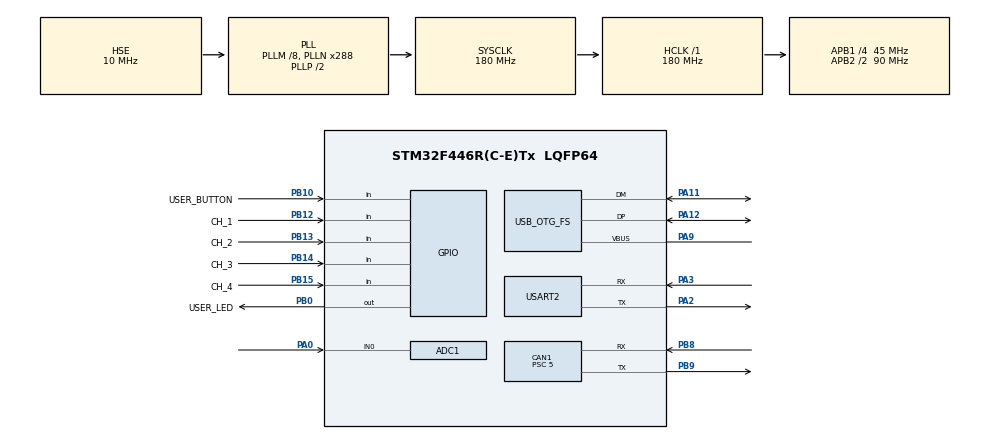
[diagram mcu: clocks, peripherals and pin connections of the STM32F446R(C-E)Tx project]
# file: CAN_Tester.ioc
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ADC1.Channel-0\#ChannelRegularConversion=ADC_CHANNEL_0
ADC1.ContinuousConvMode=DISABLE
ADC1.NbrOfConversionFlag=1
ADC1.Rank-0\#ChannelRegularConversion=1
ADC1.SamplingTime-0\#ChannelRegularConversion=ADC_SAMPLETIME_3CYCLES
ADC1.master=1
CAN1.BS1=CAN_BS1_5TQ
CAN1.BS2=CAN_BS2_3TQ
CAN1.CalculateTimeQuantum=111.11111111111111
CAN1.Prescaler=5
CAN1.SJW=CAN_SJW_1TQ
Mcu.Family=STM32F4
Mcu.Name=STM32F446R(C-E)Tx
Mcu.Package=LQFP64
NVIC.CAN1_RX0_IRQn=true\:0\:0\:false\:false\:true\:true\:true
NVIC.OTG_FS_IRQn=true\:0\:0\:false\:false\:true\:false\:true
NVIC.PriorityGroup=NVIC_PRIORITYGROUP_4
NVIC.TIM1_UP_TIM10_IRQn=true\:0\:0\:false\:false\:true\:true\:true
PA0-WKUP.Signal=ADCx_IN0
PA11.Mode=Device_Only
PA11.Signal=USB_OTG_FS_DM
PA12.Mode=Device_Only
PA12.Signal=USB_OTG_FS_DP
PA13.Mode=Trace_Asynchronous_SW
PA13.Signal=SYS_JTMS-SWDIO
PA14.Mode=Trace_Asynchronous_SW
PA14.Signal=SYS_JTCK-SWCLK
PA2.Mode=Asynchronous
PA2.Signal=USART2_TX
PA3.Mode=Asynchronous
PA3.Signal=USART2_RX
PA9.Mode=Activate_VBUS
PA9.Signal=USB_OTG_FS_VBUS
PB0.GPIO_Label=USER_LED
PB0.Signal=GPIO_Output
PB10.GPIO_Label=USER_BUTTON
PB10.GPIO_PuPd=GPIO_PULLUP
PB10.Signal=GPIO_Input
PB12.GPIO_Label=CH_1
PB12.GPIO_PuPd=GPIO_PULLUP
PB12.Signal=GPIO_Input
PB13.GPIO_Label=CH_2
PB13.GPIO_PuPd=GPIO_PULLUP
PB13.Signal=GPIO_Input
PB14.GPIO_Label=CH_3
PB14.GPIO_PuPd=GPIO_PULLUP
PB14.Signal=GPIO_Input
PB15.GPIO_Label=CH_4
PB15.GPIO_PuPd=GPIO_PULLUP
PB15.Signal=GPIO_Input
PB3.Mode=Trace_Asynchronous_SW
PB3.Signal=SYS_JTDO-SWO
PB8.Mode=Master
PB8.Signal=CAN1_RX
PB9.Mode=Master
PB9.Signal=CAN1_TX
PH0-OSC_IN.Mode=HSE-External-Oscillator
PH0-OSC_IN.Signal=RCC_OSC_IN
PH1-OSC_OUT.Mode=HSE-External-Oscillator
PH1-OSC_OUT.Signal=RCC_OSC_OUT
ProjectManager.HeapSize=0x200
ProjectManager.StackSize=0x400
ProjectManager.TargetToolchain=STM32CubeIDE
RCC.AHBFreq_Value=180000000
RCC.APB1CLKDivider=RCC_HCLK_DIV4
RCC.APB1Freq_Value=45000000
RCC.APB1TimFreq_Value=90000000
RCC.APB2CLKDivider=RCC_HCLK_DIV2
RCC.APB2Freq_Value=90000000
RCC.APB2TimFreq_Value=180000000
RCC.CortexFreq_Value=180000000
RCC.HCLKFreq_Value=180000000
RCC.HSE_VALUE=10000000
RCC.PLLM=8
RCC.PLLN=288
RCC.PLLQ=10
RCC.PLLSAIM=10
RCC.PLLSAIP=RCC_PLLSAIP_DIV4
RCC.SYSCLKFreq_VALUE=180000000
RCC.SYSCLKSource=RCC_SYSCLKSOURCE_PLLCLK
RCC.USBCLockSelection=RCC_CLK48CLKSOURCE_PLLSAIP
RCC.USBFreq_Value=48000000
RCC.VCOOutputFreq_Value=360000000
SH.ADCx_IN0.0=ADC1_IN0,IN0
TIM1.Period=10000
TIM1.Prescaler=18
USART2.VirtualMode=VM_ASYNC
USB_DEVICE.CLASS_NAME_FS=CDC
USB_DEVICE.VirtualMode-CDC_FS=Cdc
USB_DEVICE.VirtualModeFS=Cdc_FS
USB_OTG_FS.VirtualMode=Device_Only
VP_TIM1_VS_ClockSourceINT.Mode=Internal
VP_USB_DEVICE_VS_USB_DEVICE_CDC_FS.Mode=CDC_FS
board=custom

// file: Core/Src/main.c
/* USER CODE BEGIN Header */
/**
  ******************************************************************************
  * @file           : main.c
  * @brief          : Main program body
  ******************************************************************************
  * @attention
  *
  * <h2><center>&copy; Copyright (c) 2020 STMicroelectronics.
  * All rights reserved.</center></h2>
  *
  * This software component is licensed by ST under BSD 3-Clause license,
  * the "License"; You may not use this file except in compliance with the
  * License. You may obtain a copy of the License at:
  *                        opensource.org/licenses/BSD-3-Clause
  *
  ******************************************************************************
  */
/* USER CODE END Header */

#include "main.h"
#include "usb_device.h"

/* USER CODE BEGIN Includes */

#include <stdio.h>
#include <string.h>
#include <stdarg.h>

#include "ntshell.h"
#include "usrcmd.h"

#include "usbd_cdc_if.h"

#include "motorTest.h"

/* USER CODE END Includes */

/* USER CODE BEGIN PD */

#define uart_puts(str) puts(str)

/* USER CODE END PD */

ADC_HandleTypeDef hadc1;

CAN_HandleTypeDef hcan1;

TIM_HandleTypeDef htim1;

UART_HandleTypeDef huart2;

/* USER CODE BEGIN PV */

ntshell_t nts;

MotorTest_TypeDef motorTest;

/********** LED Control **********/

volatile uint32_t LED_blink_count = 0;
volatile uint32_t LED_blink_state = 0;
volatile uint32_t LED_blink_t_us = 0;
volatile uint32_t LED_blink_times = 0;
volatile uint32_t LED_blink_Ton_us = 50000;
volatile uint32_t LED_blink_Toff_us = 200000;
volatile uint32_t LED_blink_T_wait_us = 1000000;
volatile uint32_t LED_blink_Ts_us = 1000;

int16_t Iq_res_int16 = 0;
uint16_t theta_res_uint16 = 0;
int16_t omega_res_int16 = 0;

/* USER CODE END PV */

void SystemClock_Config(void);
static void MX_GPIO_Init(void);
static void MX_ADC1_Init(void);
static void MX_CAN1_Init(void);
static void MX_USART2_UART_Init(void);
static void MX_TIM1_Init(void);
/* USER CODE BEGIN PFP */

int32_t printf_cdc(char *format, ...);

/* USER CODE END PFP */

/* USER CODE BEGIN 0 */

#ifdef __GNUC__
#define PUTCHAR_PROTOTYPE int __io_putchar(int ch)
#else
#define PUTCHAR_PROTOTYPE int fputc(int ch, FILE *f)
#endif /* __GNUC__ */
void __io_putchar(uint8_t ch)
{
	HAL_UART_Transmit(&huart2, &ch, 1, 1);
}

void driveMotor_speed(float Iq_ref[])
{

	uint32_t can1TxMailbox;
	CAN_TxHeaderTypeDef can1TxHeader;
	uint8_t can1TxData[8];

	int16_t Iq_ref_int[4];

	can1TxHeader.StdId = 0x300;
	can1TxHeader.ExtId = 0x00;
	can1TxHeader.IDE = CAN_ID_STD;
	can1TxHeader.RTR = CAN_RTR_DATA;
	can1TxHeader.DLC = 8;

	Iq_ref_int[0] = (int16_t)(Iq_ref[0] * 1024);
	Iq_ref_int[1] = (int16_t)(Iq_ref[1] * 1024);
	Iq_ref_int[2] = (int16_t)(Iq_ref[2] * 1024);
	Iq_ref_int[3] = (int16_t)(Iq_ref[3] * 1024);

	can1TxData[0] = Iq_ref_int[0] & 0xff;
	can1TxData[1] = (Iq_ref_int[0] >> 8) & 0xff;

	can1TxData[2] = Iq_ref_int[1] & 0xff;
	can1TxData[3] = (Iq_ref_int[1] >> 8) & 0xff;

	can1TxData[4] = Iq_ref_int[2] & 0xff;
	can1TxData[5] = (Iq_ref_int[2] >> 8) & 0xff;

	can1TxData[6] = Iq_ref_int[3] & 0xff;
	can1TxData[7] = (Iq_ref_int[3] >> 8) & 0xff;

	//HAL_CAN_ActivateNotification(&hcan1, CAN_IT_TX_MAILBOX_EMPTY);

	HAL_CAN_AddTxMessage(&hcan1, &can1TxHeader, can1TxData, &can1TxMailbox);

	return;
}

void requestMotorParam()
{

	uint32_t can1TxMailbox;
	CAN_TxHeaderTypeDef can1TxHeader;
	uint8_t can1TxData[8];

	can1TxHeader.StdId = 0x310;
	can1TxHeader.ExtId = 0x00;
	can1TxHeader.IDE = CAN_ID_STD;
	can1TxHeader.RTR = CAN_RTR_DATA;
	can1TxHeader.DLC = 0;

	//HAL_CAN_ActivateNotification(&hcan1, CAN_IT_TX_MAILBOX_EMPTY);

	HAL_CAN_AddTxMessage(&hcan1, &can1TxHeader, can1TxData, &can1TxMailbox);

	return;
}

uint8_t getChannel()
{
	uint8_t ch = 0;

	//ch |= !HAL_GPIO_ReadPin(CH_1_GPIO_Port, CH_1_Pin) << 2;
	ch |= !HAL_GPIO_ReadPin(CH_2_GPIO_Port, CH_2_Pin) << 1;
	ch |= !HAL_GPIO_ReadPin(CH_3_GPIO_Port, CH_3_Pin) << 0;
	//ch |= !HAL_GPIO_ReadPin(CH_4_GPIO_Port, CH_4_Pin) << 3;

	return ch;
}

float getVolume()
{
	static float rate = 0.0;

#if 0
	if (HAL_ADC_PollForConversion(&hadc1, 10) != HAL_OK)
	{
		Error_Handler();
	}
	else
	{
		rate = HAL_ADC_GetValue(&hadc1) / 4096.0f;
	}
#else
	rate = HAL_ADC_GetValue(&hadc1) / 4096.0f;
#endif

	if(HAL_ADC_Start_IT(&hadc1) != HAL_OK)
	{
		Error_Handler();
	}

	return rate;

}

int32_t printf_cdc(char *format, ...)
{
	int32_t TransStrLength;
	static char TransStr[1024];

	va_list args;
	va_start(args, format);
	TransStrLength = vsprintf(TransStr, format, args);
	va_end(args);

	CDC_Transmit_FS((uint8_t *)TransStr, TransStrLength);

	return TransStrLength;
}

void LED_blink()
{

	switch(LED_blink_state)
	{
	case 0: // OFF WAIT
		HAL_GPIO_WritePin(USER_LED_GPIO_Port, USER_LED_Pin, GPIO_PIN_RESET);
		if(LED_blink_t_us >= LED_blink_T_wait_us)
		{
			if(LED_blink_times > 0)
			{
				LED_blink_state = 1;
				LED_blink_count = 0;
			}

			LED_blink_t_us = 0;
		}
		break;

	case 1: // ON
		HAL_GPIO_WritePin(USER_LED_GPIO_Port, USER_LED_Pin, GPIO_PIN_SET);
		if(LED_blink_t_us >= LED_blink_Ton_us)
		{
			LED_blink_count += 1;
			LED_blink_state = 2;
			LED_blink_t_us = 0;
		}
		break;

	case 2: // OFF
		HAL_GPIO_WritePin(USER_LED_GPIO_Port, USER_LED_Pin, GPIO_PIN_RESET);
		if(LED_blink_t_us >= LED_blink_Toff_us)
		{
			if(LED_blink_count < LED_blink_times)
				LED_blink_state = 1;
			else
				LED_blink_state = 0;

			LED_blink_t_us = 0;
		}
		break;

	default:

		break;
	}

	LED_blink_t_us += LED_blink_Ts_us;

}

void HAL_TIM_PeriodElapsedCallback (TIM_HandleTypeDef * htim)
{

	if(htim->Instance == TIM1)
	{
		// 1ms
		LED_blink();

		motorTest.volume = getVolume();

		MotorTest_Update(&motorTest);

	}

}

void HAL_CAN_RxFifo0MsgPendingCallback(CAN_HandleTypeDef *hcan)
{

	CAN_RxHeaderTypeDef can1RxHeader;
	uint8_t can1RxData[8];

	HAL_CAN_GetRxMessage(hcan, CAN_RX_FIFO0, &can1RxHeader, can1RxData);

	if(can1RxHeader.StdId == (0x400 + getChannel()) && can1RxHeader.DLC == 8)
	{
		motorTest.status_code = can1RxData[0];
		motorTest.Iq_res_int16 = ((int16_t)can1RxData[2] << 8) | can1RxData[1];
		motorTest.theta_res_uint16 = ((uint16_t)can1RxData[4] << 8) | can1RxData[3];
		motorTest.omega_res_int16 = ((int16_t)can1RxData[6] << 8) | can1RxData[5];
		return;
	}
	if(can1RxHeader.StdId == (0x410 + getChannel()) && can1RxHeader.DLC == 4)
	{
		uint16_t motor_kv = ((int16_t)can1RxData[1] << 8) | can1RxData[0];
		uint16_t Irated_uint16 = ((uint16_t)can1RxData[3] << 8) | can1RxData[2];
		float Irated = Irated_uint16 / 1024.0f;
		printf("ch = %d\n", can1RxHeader.StdId & 0x003);
		printf("KV = %d\n", motor_kv);
		printf("Irated = %f\n", Irated);
		return;
	}

}

/* USER CODE END 0 */

int main(void)
{
  /* USER CODE BEGIN 1 */

	CAN_FilterTypeDef sFilterConfig;

	uint8_t targetChannel = 0;

	int omega_sign = 1;

	uint8_t button = 0;
	uint8_t p_button = 0;

  /* USER CODE END 1 */

  /* MCU Configuration--------------------------------------------------------*/

  /* Reset of all peripherals, Initializes the Flash interface and the Systick. */
  HAL_Init();

  /* Configure the system clock */
  SystemClock_Config();

  /* Initialize all configured peripherals */
  MX_GPIO_Init();
  MX_ADC1_Init();
  MX_CAN1_Init();
  MX_USART2_UART_Init();
  //MX_USB_DEVICE_Init();
  MX_TIM1_Init();
  /* USER CODE BEGIN 2 */

  ntshell_usr_init(&nts);

  MotorTest_Init(&motorTest);

	sFilterConfig.FilterBank = 0;
	sFilterConfig.FilterMode = CAN_FILTERMODE_IDMASK;
	sFilterConfig.FilterScale = CAN_FILTERSCALE_32BIT;
	sFilterConfig.FilterIdHigh = 0x400 << 5;
	sFilterConfig.FilterIdLow = 0x0000;
	sFilterConfig.FilterMaskIdHigh = 0x70c << 5;
	sFilterConfig.FilterMaskIdLow = 0x0006;
	sFilterConfig.FilterFIFOAssignment = CAN_RX_FIFO0;
	sFilterConfig.FilterActivation = ENABLE;
	sFilterConfig.SlaveStartFilterBank = 14;

	if(HAL_CAN_ConfigFilter(&hcan1,&sFilterConfig) != HAL_OK)
	{
	  Error_Handler();
	}

	if(HAL_CAN_ActivateNotification(&hcan1, CAN_IT_RX_FIFO0_MSG_PENDING | CAN_IT_TX_MAILBOX_EMPTY) != HAL_OK)
	{
	  Error_Handler();
	}

  // CAN Start
  if(HAL_CAN_Start(&hcan1) != HAL_OK)
  {
	  Error_Handler();
  }

  // ADC Start
  if(HAL_ADC_Start_IT(&hadc1) != HAL_OK)
  {
	  Error_Handler();
  }

  printf("Send request to main.\n");
  requestMotorParam();

  HAL_Delay(500);

  // Timer Start
  if(HAL_TIM_Base_Start_IT(&htim1) != HAL_OK)
  {
	  Error_Handler();
  }

  //printf("Hello\n");

  HAL_Delay(1000);

  int count = 0;

  /* USER CODE END 2 */

  /* Infinite loop */
  /* USER CODE BEGIN WHILE */
  while (1)
  {

	  ntshell_execute(&nts);

	  HAL_Delay(10);

	  targetChannel = getChannel();

	  LED_blink_times = targetChannel;

	  button = !HAL_GPIO_ReadPin(USER_BUTTON_GPIO_Port, USER_BUTTON_Pin);

	  if(button && !p_button)
	  {
		  omega_sign *= -1;
	  }
	  p_button = button;

	  float Iq_ref[4] = {0.0, 0.0, 0.0, 0.0};

	  Iq_ref[targetChannel] = omega_sign * getVolume() * 15.0f;

	  driveMotor_speed(Iq_ref);

	  printf("%Iq_ref = %f\nIq_int = %6d, theta_int = %6d, omega_int = %6d\n", Iq_ref[targetChannel], Iq_res_int16, theta_res_uint16, omega_res_int16);

	  printf("\e[2A");

	  //printf_cdc("ID:%d, speed_ref=%.1f\n", targetChannel, Iq_ref[targetChannel]);

    /* USER CODE END WHILE */

  }
}

void SystemClock_Config(void)
{
  RCC_OscInitTypeDef RCC_OscInitStruct = {0};
  RCC_ClkInitTypeDef RCC_ClkInitStruct = {0};
  RCC_PeriphCLKInitTypeDef PeriphClkInitStruct = {0};

  /** Configure the main internal regulator output voltage
  */
  __HAL_RCC_PWR_CLK_ENABLE();
  __HAL_PWR_VOLTAGESCALING_CONFIG(PWR_REGULATOR_VOLTAGE_SCALE1);
  /** Initializes the CPU, AHB and APB busses clocks
  */
  RCC_OscInitStruct.OscillatorType = RCC_OSCILLATORTYPE_HSE;
  RCC_OscInitStruct.HSEState = RCC_HSE_ON;
  RCC_OscInitStruct.PLL.PLLState = RCC_PLL_ON;
  RCC_OscInitStruct.PLL.PLLSource = RCC_PLLSOURCE_HSE;
  RCC_OscInitStruct.PLL.PLLM = 8;
  RCC_OscInitStruct.PLL.PLLN = 288;
  RCC_OscInitStruct.PLL.PLLP = RCC_PLLP_DIV2;
  RCC_OscInitStruct.PLL.PLLQ = 10;
  RCC_OscInitStruct.PLL.PLLR = 2;
  if (HAL_RCC_OscConfig(&RCC_OscInitStruct) != HAL_OK)
  {
    Error_Handler();
  }
  /** Activate the Over-Drive mode
  */
  if (HAL_PWREx_EnableOverDrive() != HAL_OK)
  {
    Error_Handler();
  }
  /** Initializes the CPU, AHB and APB busses clocks
  */
  RCC_ClkInitStruct.ClockType = RCC_CLOCKTYPE_HCLK|RCC_CLOCKTYPE_SYSCLK
                              |RCC_CLOCKTYPE_PCLK1|RCC_CLOCKTYPE_PCLK2;
  RCC_ClkInitStruct.SYSCLKSource = RCC_SYSCLKSOURCE_PLLCLK;
  RCC_ClkInitStruct.AHBCLKDivider = RCC_SYSCLK_DIV1;
  RCC_ClkInitStruct.APB1CLKDivider = RCC_HCLK_DIV4;
  RCC_ClkInitStruct.APB2CLKDivider = RCC_HCLK_DIV2;

  if (HAL_RCC_ClockConfig(&RCC_ClkInitStruct, FLASH_LATENCY_5) != HAL_OK)
  {
    Error_Handler();
  }
  PeriphClkInitStruct.PeriphClockSelection = RCC_PERIPHCLK_CLK48;
  PeriphClkInitStruct.PLLSAI.PLLSAIM = 10;
  PeriphClkInitStruct.PLLSAI.PLLSAIN = 192;
  PeriphClkInitStruct.PLLSAI.PLLSAIQ = 2;
  PeriphClkInitStruct.PLLSAI.PLLSAIP = RCC_PLLSAIP_DIV4;
  PeriphClkInitStruct.PLLSAIDivQ = 1;
  PeriphClkInitStruct.Clk48ClockSelection = RCC_CLK48CLKSOURCE_PLLSAIP;
  if (HAL_RCCEx_PeriphCLKConfig(&PeriphClkInitStruct) != HAL_OK)
  {
    Error_Handler();
  }
}

static void MX_ADC1_Init(void)
{

  ADC_ChannelConfTypeDef sConfig = {0};

  /** Configure the global features of the ADC (Clock, Resolution, Data Alignment and number of conversion)
  */
  hadc1.Instance = ADC1;
  hadc1.Init.ClockPrescaler = ADC_CLOCK_SYNC_PCLK_DIV4;
  hadc1.Init.Resolution = ADC_RESOLUTION_12B;
  hadc1.Init.ScanConvMode = DISABLE;
  hadc1.Init.ContinuousConvMode = DISABLE;
  hadc1.Init.DiscontinuousConvMode = DISABLE;
  hadc1.Init.ExternalTrigConvEdge = ADC_EXTERNALTRIGCONVEDGE_NONE;
  hadc1.Init.ExternalTrigConv = ADC_SOFTWARE_START;
  hadc1.Init.DataAlign = ADC_DATAALIGN_RIGHT;
  hadc1.Init.NbrOfConversion = 1;
  hadc1.Init.DMAContinuousRequests = DISABLE;
  hadc1.Init.EOCSelection = ADC_EOC_SINGLE_CONV;
  if (HAL_ADC_Init(&hadc1) != HAL_OK)
  {
    Error_Handler();
  }
  /** Configure for the selected ADC regular channel its corresponding rank in the sequencer and its sample time.
  */
  sConfig.Channel = ADC_CHANNEL_0;
  sConfig.Rank = 1;
  sConfig.SamplingTime = ADC_SAMPLETIME_3CYCLES;
  if (HAL_ADC_ConfigChannel(&hadc1, &sConfig) != HAL_OK)
  {
    Error_Handler();
  }

}

static void MX_CAN1_Init(void)
{

  hcan1.Instance = CAN1;
  hcan1.Init.Prescaler = 5;
  hcan1.Init.Mode = CAN_MODE_NORMAL;
  hcan1.Init.SyncJumpWidth = CAN_SJW_1TQ;
  hcan1.Init.TimeSeg1 = CAN_BS1_5TQ;
  hcan1.Init.TimeSeg2 = CAN_BS2_3TQ;
  hcan1.Init.TimeTriggeredMode = DISABLE;
  hcan1.Init.AutoBusOff = DISABLE;
  hcan1.Init.AutoWakeUp = DISABLE;
  hcan1.Init.AutoRetransmission = DISABLE;
  hcan1.Init.ReceiveFifoLocked = DISABLE;
  hcan1.Init.TransmitFifoPriority = DISABLE;
  if (HAL_CAN_Init(&hcan1) != HAL_OK)
  {
    Error_Handler();
  }

}

static void MX_TIM1_Init(void)
{

  TIM_ClockConfigTypeDef sClockSourceConfig = {0};
  TIM_MasterConfigTypeDef sMasterConfig = {0};

  htim1.Instance = TIM1;
  htim1.Init.Prescaler = 18;
  htim1.Init.CounterMode = TIM_COUNTERMODE_UP;
  htim1.Init.Period = 10000;
  htim1.Init.ClockDivision = TIM_CLOCKDIVISION_DIV1;
  htim1.Init.RepetitionCounter = 0;
  htim1.Init.AutoReloadPreload = TIM_AUTORELOAD_PRELOAD_DISABLE;
  if (HAL_TIM_Base_Init(&htim1) != HAL_OK)
  {
    Error_Handler();
  }
  sClockSourceConfig.ClockSource = TIM_CLOCKSOURCE_INTERNAL;
  if (HAL_TIM_ConfigClockSource(&htim1, &sClockSourceConfig) != HAL_OK)
  {
    Error_Handler();
  }
  sMasterConfig.MasterOutputTrigger = TIM_TRGO_RESET;
  sMasterConfig.MasterSlaveMode = TIM_MASTERSLAVEMODE_DISABLE;
  if (HAL_TIMEx_MasterConfigSynchronization(&htim1, &sMasterConfig) != HAL_OK)
  {
    Error_Handler();
  }

}

static void MX_USART2_UART_Init(void)
{

  huart2.Instance = USART2;
  huart2.Init.BaudRate = 115200;
  huart2.Init.WordLength = UART_WORDLENGTH_8B;
  huart2.Init.StopBits = UART_STOPBITS_1;
  huart2.Init.Parity = UART_PARITY_NONE;
  huart2.Init.Mode = UART_MODE_TX_RX;
  huart2.Init.HwFlowCtl = UART_HWCONTROL_NONE;
  huart2.Init.OverSampling = UART_OVERSAMPLING_16;
  if (HAL_UART_Init(&huart2) != HAL_OK)
  {
    Error_Handler();
  }

}

static void MX_GPIO_Init(void)
{
  GPIO_InitTypeDef GPIO_InitStruct = {0};

  /* GPIO Ports Clock Enable */
  __HAL_RCC_GPIOH_CLK_ENABLE();
  __HAL_RCC_GPIOA_CLK_ENABLE();
  __HAL_RCC_GPIOB_CLK_ENABLE();

  /*Configure GPIO pin Output Level */
  HAL_GPIO_WritePin(USER_LED_GPIO_Port, USER_LED_Pin, GPIO_PIN_RESET);

  /*Configure GPIO pin : USER_LED_Pin */
  GPIO_InitStruct.Pin = USER_LED_Pin;
  GPIO_InitStruct.Mode = GPIO_MODE_OUTPUT_PP;
  GPIO_InitStruct.Pull = GPIO_NOPULL;
  GPIO_InitStruct.Speed = GPIO_SPEED_FREQ_LOW;
  HAL_GPIO_Init(USER_LED_GPIO_Port, &GPIO_InitStruct);

  /*Configure GPIO pins : USER_BUTTON_Pin CH_1_Pin CH_2_Pin CH_3_Pin
                           CH_4_Pin */
  GPIO_InitStruct.Pin = USER_BUTTON_Pin|CH_1_Pin|CH_2_Pin|CH_3_Pin
                          |CH_4_Pin;
  GPIO_InitStruct.Mode = GPIO_MODE_INPUT;
  GPIO_InitStruct.Pull = GPIO_PULLUP;
  HAL_GPIO_Init(GPIOB, &GPIO_InitStruct);

}

void Error_Handler(void)
{
}

/************************ (C) COPYRIGHT STMicroelectronics *****END OF FILE****/
